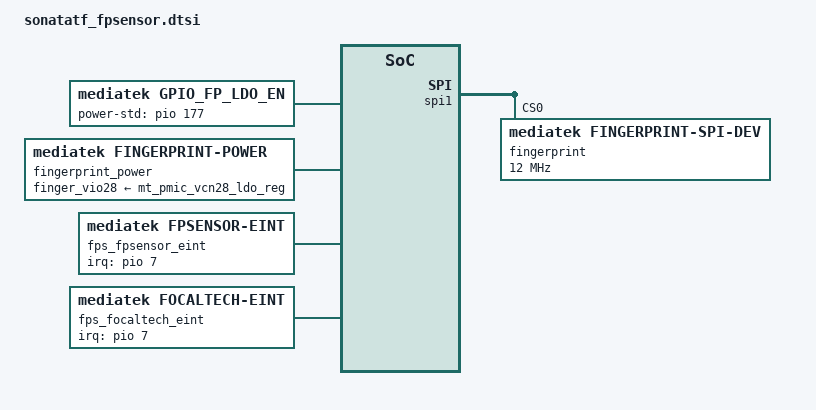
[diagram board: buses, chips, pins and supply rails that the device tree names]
/* Copyright (c) 2014, The Linux Foundation. All rights reserved.
*
* This program is free software; you can redistribute it and/or modify
* it under the terms of the GNU General Public License version 2 and
* only version 2 as published by the Free Software Foundation.
*
* This program is distributed in the hope that it will be useful,
* but WITHOUT ANY WARRANTY; without even the implied warranty of
* MERCHANTABILITY or FITNESS FOR A PARTICULAR PURPOSE.  See the
* GNU General Public License for more details.
*/


/*begin, fps, fingerprint config*/
&spi1{
	fingerprint@0 {
		compatible = "mediatek,fingerprint-spi-dev";
		reg = <0>;
		spi-max-frequency = <12000000>;
		netlink-event = <31>;
		status = "okay";
	};
};

&odm {
    fingerprint_pinctrl: fingerprint_pinctrl {
        compatible = "mediatek,fingerprint-pinctrl";
    };

    gpio_fp_ldo_en: gpio_fp_ldo_en {
        compatible = "mediatek,gpio_fp_ldo_en";
        gpio-power = <177>;
        gpio-power-std = <&pio 177 0x0>;
    };

    fingerprint_power: fingerprint_power {
        compatible = "mediatek,fingerprint-power";
        finger_vio28-supply = <&mt_pmic_vcn28_ldo_reg>;
        pinctrl_power = <1>;
        focaltech_info = "FT9391:FOCAL:Kerr:AYB0000239C1";
        chipone_info = "ICNF7312:ICNF:Sunwin:AYB0000244C1";
    };
    fps_fpsensor_eint: fps_fpsensor_eint {
        compatible = "mediatek,fpsensor-eint";
        interrupt-parent = <&pio>;
        interrupts = <7 IRQ_TYPE_NONE 7 0>;
        debounce = <7 0>;
        status = "okay";
    };
    fps_focaltech_eint: fps_focaltech_eint {
        compatible = "mediatek,focaltech-eint";
        interrupt-parent = <&pio>;
        interrupts = <7 IRQ_TYPE_EDGE_RISING 7 0>;
        debounce = <7 0>;
        status = "okay";
    };
};

&fingerprint_pinctrl{
    pinctrl-names = 
    "fpsensor_power_low", "fpsensor_power_high",
    "fpsensor_rst_low", "fpsensor_rst_high",
    "fpsensor_eint_low",
    "fpsensor_power2_low", "fpsensor_power2_high";
    pinctrl-0 = <&fpsensor_power_low>;
    pinctrl-1 = <&fpsensor_power_high>;
    pinctrl-2 = <&fpsensor_rst_low>;
    pinctrl-3 = <&fpsensor_rst_high>;
    pinctrl-4 = <&fpsensor_eint_low>;
    pinctrl-5 = <&fpsensor_power2_low>;
    pinctrl-6 = <&fpsensor_power2_high>;
    status = "okay";
};

&pio {
    fpsensor_power_low: fpsensor_power_low {
        pins_cmd_dat {
            pinmux = <PINMUX_GPIO166__FUNC_GPIO166>;
            slew-rate = <1>;
            output-low;
        };
    };
    fpsensor_power_high: fpsensor_power_high {
        pins_cmd_dat {
            pinmux = <PINMUX_GPIO166__FUNC_GPIO166>;
            slew-rate = <1>;
            output-high;
        };
    };
    fpsensor_rst_low: fpsensor_rst_low {
        pins_cmd_dat {
            pinmux = <PINMUX_GPIO22__FUNC_GPIO22>;
            slew-rate = <1>;
            output-low;
        };
    };
    fpsensor_rst_high: fpsensor_rst_high {
        pins_cmd_dat {
            pinmux = <PINMUX_GPIO22__FUNC_GPIO22>;
            slew-rate = <1>;
            output-high;
        };
    };
    fpsensor_eint_low: fpsensor_eint_low {
        pins_cmd_dat {
            pinmux = <PINMUX_GPIO7__FUNC_GPIO7>;
            slew-rate = <0>;
            //bias-disable;
            bias-pull-down = <00>;
        };
    };
    fpsensor_power2_low: fpsensor_power2_low {
        pins_cmd_dat {
            pinmux = <PINMUX_GPIO19__FUNC_GPIO19>;
            slew-rate = <1>;
            output-low;
        };
    };
    fpsensor_power2_high: fpsensor_power2_high {
        pins_cmd_dat {
            pinmux = <PINMUX_GPIO19__FUNC_GPIO19>;
            slew-rate = <1>;
            output-high;
        };
    };
};

/*end, fps, fingerprint config*/
